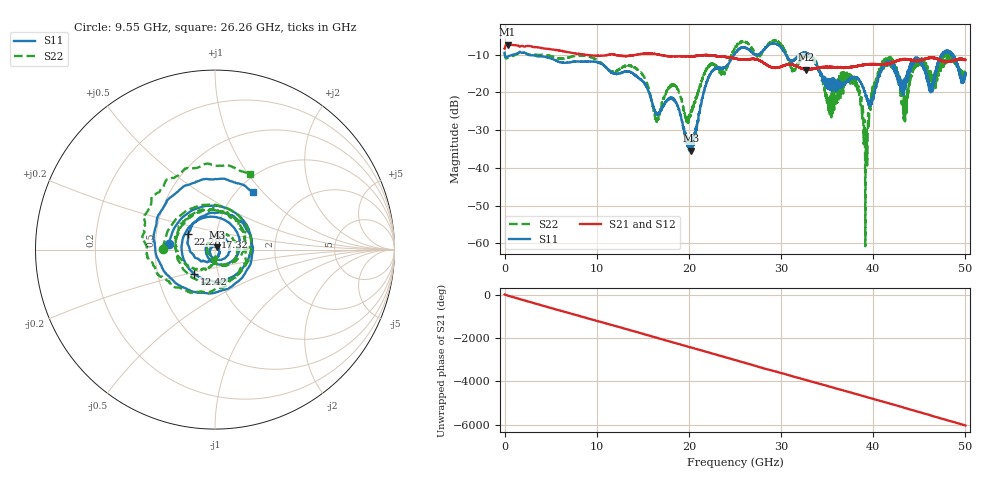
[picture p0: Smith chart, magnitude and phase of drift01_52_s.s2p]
!Created with skrf (http://scikit-rf.org).
# Hz S RI R 50.0
!freq ReS11 ImS11 ReS21 ImS21 ReS12 ImS12 ReS22 ImS22
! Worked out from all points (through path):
!   10001 points, 300 kHz to 50 GHz, reference 50 ohm
!   highest |S21| = -7.33 dB at 325.3 MHz (marker M1); lowest = -14.0 dB at 32.74 GHz (marker M2)
!   group delay of S21, straight-line fit = 335 ps
!   lowest |S11| = -35.4 dB at 20.19 GHz (marker M3), VSWR 1.03, Z = 51 + j1.42 ohm
!   |S11| at or under -10 dB: 2.566 GHz to 24.91 GHz (22.34 GHz wide, 163 % of centre); 30.51 GHz to 32.01 GHz (1.5 GHz wide, 4.8 % of centre); 33.07 GHz to 47.41 GHz (14.34 GHz wide, 35.6 % of centre) (the widest 3 of 24)
!   |S22| runs from -60.7 to -6.2 dB; largest |S21 - S12| = 0.0088
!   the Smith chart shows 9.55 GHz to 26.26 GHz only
!   S11 on the Smith chart (normalised r, x): 9.55 GHz: 0.59, +0.04; 12.42 GHz: 0.77, -0.21; 17.32 GHz: 0.99, +0.14; 22.28 GHz: 0.73, +0.13; 26.26 GHz: 1.19, +0.89
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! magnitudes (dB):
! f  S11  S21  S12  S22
! 300 kHz  -9.5  -8.4  -8.5  -9.5
! 325.3 MHz  -10.5  -7.3  -7.3  -10.9
! 8.335 GHz  -11.8  -9.9  -9.8  -10.2
! 9.55 GHz  -11.8  -10.2  -10.2  -10.8
! 12.42 GHz  -15.0  -10.2  -10.2  -13.9
! 16.67 GHz  -25.8  -9.9  -9.9  -27.1
! 17.32 GHz  -23.2  -10.2  -10.2  -21.5
! 20.19 GHz  -35.4  -10.4  -10.5  -25.5
! 22.28 GHz  -15.2  -10.1  -10.1  -12.9
! 25 GHz  -9.6  -11.0  -11.0  -8.4
! 26.26 GHz  -8.3  -11.3  -11.3  -6.7
! 32.74 GHz  -9.5  -14.0  -13.9  -9.9
! 33.34 GHz  -10.8  -13.8  -13.8  -10.5
! 35.23 GHz  -17.0  -13.2  -13.2  -22.1
! 37.97 GHz  -15.9  -13.1  -13.0  -17.0
! 39.17 GHz  -20.8  -12.7  -12.7  -40.3
! 40.16 GHz  -20.1  -12.6  -12.5  -17.4
! 41.67 GHz  -12.2  -12.3  -12.3  -11.6
! 43.45 GHz  -17.1  -11.3  -11.3  -27.7
! 44.89 GHz  -11.5  -11.6  -11.5  -11.4
! 46.27 GHz  -19.8  -10.8  -10.8  -17.4
! 50 GHz  -15.1  -11.4  -11.3  -15.1
